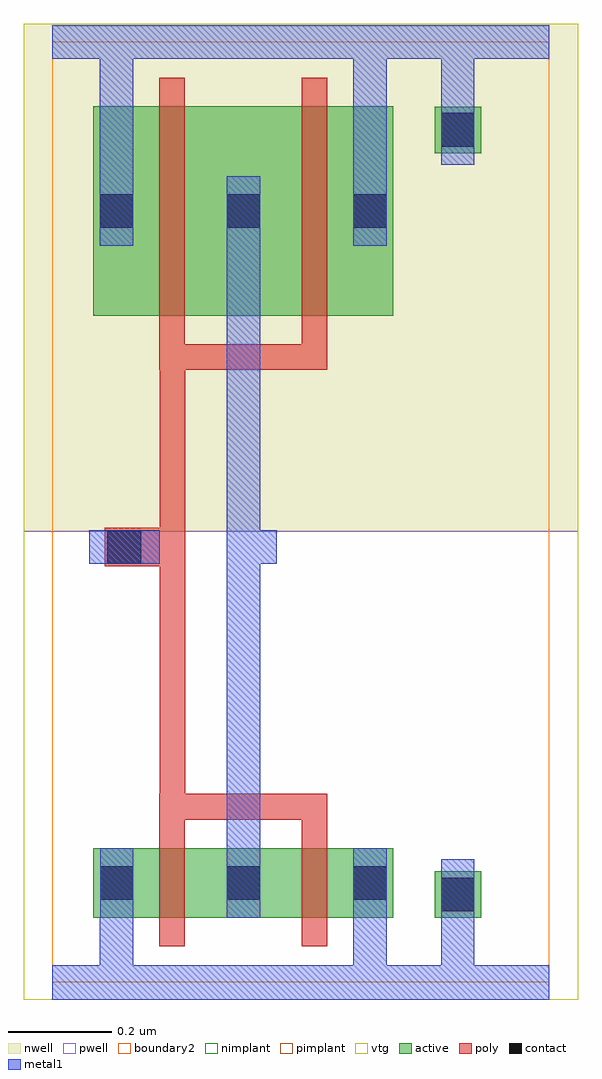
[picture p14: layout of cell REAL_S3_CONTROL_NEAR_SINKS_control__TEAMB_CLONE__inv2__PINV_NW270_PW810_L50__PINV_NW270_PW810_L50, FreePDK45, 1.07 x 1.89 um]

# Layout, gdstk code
import gdstk
lib = gdstk.Library(unit=1e-6, precision=1e-09)
def R(c, l, rs):  # rectangles x0, y0, x1, y1
    for r in rs: c.add(gdstk.rectangle(r[:2], r[2:], *l))
active = (1, 0)
pwell = (2, 0)
nwell = (3, 0)
nimplant = (4, 0)
pimplant = (5, 0)
vtg = (6, 0)
poly = (9, 0)
contact = (10, 0)
metal1 = (11, 0)
boundary2 = (239, 0)

real_s3_control_near_sin = lib.new_cell('REAL_S3_CONTROL_NEAR_SINKS_control__TEAMB_CLONE__inv2__PINV_NW270_PW810_L50__TRANSMISSION_GATE_NW250_PW500_L50_contact_8')
R(real_s3_control_near_sin, active, [(0,0.022,0.09,0.112), (0,0.022,0.09,0.112)])
R(real_s3_control_near_sin, nwell, [(-0.055,-0.033,0.145,0.168), (-0.055,-0.033,0.145,0.168)])
R(real_s3_control_near_sin, pimplant, [(0,0.022,0.09,0.112), (0,0.022,0.09,0.112)])
R(real_s3_control_near_sin, contact, [(0.013,0.035,0.077,0.1), (0.013,0.035,0.077,0.1)])
R(real_s3_control_near_sin, metal1, [(0.013,0,0.077,0.135), (0.013,0,0.077,0.135)])
R(real_s3_control_near_sin, boundary2, [(-0.055,-0.033,0.145,0.168), (-0.055,-0.033,0.145,0.168)])

c_real_s3_control_near_sin = lib.new_cell('REAL_S3_CONTROL_NEAR_SINKS_control__TEAMB_CLONE__inv2__PINV_NW270_PW810_L50__PINV_NW270_PW810_L50_pmos_m2_w0_405_sm1_dm1_da_p')
R(c_real_s3_control_near_sin, active, [(0,0,0.58,0.405), (0,0,0.58,0.405)])
R(c_real_s3_control_near_sin, nwell, [(-0.08,-0.08,0.66,0.485), (-0.08,-0.08,0.66,0.485)])
R(c_real_s3_control_near_sin, pimplant, [(0,0,0.58,0.405), (0,0,0.58,0.405)])
R(c_real_s3_control_near_sin, vtg, [(-0.08,-0.08,0.66,0.485), (-0.08,-0.08,0.66,0.485)])
R(c_real_s3_control_near_sin, poly, [(0.127,-0.105,0.452,-0.055), (0.127,-0.105,0.452,-0.055), (0.127,-0.055,0.177,0.46), (0.127,-0.055,0.177,0.46), (0.403,-0.055,0.452,0.46), (0.403,-0.055,0.452,0.46)])
R(c_real_s3_control_near_sin, metal1, [(0.013,0.135,0.077,0.27), (0.013,0.135,0.077,0.27), (0.258,0.135,0.323,0.27), (0.258,0.135,0.323,0.27), (0.503,0.135,0.567,0.27), (0.503,0.135,0.567,0.27)])
R(c_real_s3_control_near_sin, boundary2, [(-0.08,-0.105,0.66,0.485), (-0.08,-0.105,0.66,0.485)])
c_real_s3_control_near_sin.add(gdstk.Reference(real_s3_control_near_sin, (0,0.135)))
c_real_s3_control_near_sin.add(gdstk.Reference(real_s3_control_near_sin, (0.245,0.135)))
c_real_s3_control_near_sin.add(gdstk.Reference(real_s3_control_near_sin, (0.49,0.135)))

c_real_s3_control_near_sin_ = lib.new_cell('REAL_S3_CONTROL_NEAR_SINKS_control__TEAMB_CLONE__inv2__PINV_NW270_PW810_L50__TRANSMISSION_GATE_NW250_PW500_L50_contact_7')
R(c_real_s3_control_near_sin_, active, [(0,0.022,0.09,0.112), (0,0.022,0.09,0.112)])
R(c_real_s3_control_near_sin_, pwell, [(-0.055,-0.033,0.145,0.168), (-0.055,-0.033,0.145,0.168)])
R(c_real_s3_control_near_sin_, nimplant, [(0,0.022,0.09,0.112), (0,0.022,0.09,0.112)])
R(c_real_s3_control_near_sin_, contact, [(0.013,0.035,0.077,0.1), (0.013,0.035,0.077,0.1)])
R(c_real_s3_control_near_sin_, metal1, [(0.013,0,0.077,0.135), (0.013,0,0.077,0.135)])
R(c_real_s3_control_near_sin_, boundary2, [(-0.055,-0.033,0.145,0.168), (-0.055,-0.033,0.145,0.168)])

c_real_s3_control_near_sin__ = lib.new_cell('REAL_S3_CONTROL_NEAR_SINKS_control__TEAMB_CLONE__inv2__PINV_NW270_PW810_L50__PINV_NW270_PW810_L50_nmos_m2_w0_135_sm1_dm1_da_p')
R(c_real_s3_control_near_sin__, active, [(0,0,0.58,0.135), (0,0,0.58,0.135)])
R(c_real_s3_control_near_sin__, pwell, [(-0.08,-0.08,0.66,0.215), (-0.08,-0.08,0.66,0.215)])
R(c_real_s3_control_near_sin__, nimplant, [(0,0,0.58,0.135), (0,0,0.58,0.135)])
R(c_real_s3_control_near_sin__, vtg, [(-0.08,-0.08,0.66,0.215), (-0.08,-0.08,0.66,0.215)])
R(c_real_s3_control_near_sin__, poly, [(0.127,-0.055,0.177,0.19), (0.127,-0.055,0.177,0.19), (0.403,-0.055,0.452,0.19), (0.403,-0.055,0.452,0.19), (0.127,0.19,0.452,0.24), (0.127,0.19,0.452,0.24)])
R(c_real_s3_control_near_sin__, metal1, [(0.013,0,0.077,0.135), (0.013,0,0.077,0.135), (0.258,0,0.323,0.135), (0.258,0,0.323,0.135), (0.503,0,0.567,0.135), (0.503,0,0.567,0.135)])
R(c_real_s3_control_near_sin__, boundary2, [(-0.08,-0.08,0.66,0.24), (-0.08,-0.08,0.66,0.24)])
c_real_s3_control_near_sin__.add(gdstk.Reference(c_real_s3_control_near_sin_, (0,0)))
c_real_s3_control_near_sin__.add(gdstk.Reference(c_real_s3_control_near_sin_, (0.245,0)))
c_real_s3_control_near_sin__.add(gdstk.Reference(c_real_s3_control_near_sin_, (0.49,0)))

c_real_s3_control_near_sin___ = lib.new_cell('REAL_S3_CONTROL_NEAR_SINKS_control__TEAMB_CLONE__inv2__PINV_NW270_PW810_L50__TRANSMISSION_GATE_NW250_PW500_L50_contact_9')
R(c_real_s3_control_near_sin___, active, [(0,0.022,0.09,0.112), (0,0.022,0.09,0.112)])
R(c_real_s3_control_near_sin___, nwell, [(-0.055,-0.033,0.145,0.168), (-0.055,-0.033,0.145,0.168)])
R(c_real_s3_control_near_sin___, nimplant, [(0,0.022,0.09,0.112), (0,0.022,0.09,0.112)])
R(c_real_s3_control_near_sin___, contact, [(0.013,0.035,0.077,0.1), (0.013,0.035,0.077,0.1)])
R(c_real_s3_control_near_sin___, metal1, [(0.013,0,0.077,0.135), (0.013,0,0.077,0.135)])
R(c_real_s3_control_near_sin___, boundary2, [(-0.055,-0.033,0.145,0.168), (-0.055,-0.033,0.145,0.168)])

c_real_s3_control_near_sin____ = lib.new_cell('REAL_S3_CONTROL_NEAR_SINKS_control__TEAMB_CLONE__inv2__PINV_NW270_PW810_L50__TRANSMISSION_GATE_NW250_PW500_L50_contact_10')
R(c_real_s3_control_near_sin____, active, [(0,0.022,0.09,0.112), (0,0.022,0.09,0.112)])
R(c_real_s3_control_near_sin____, pwell, [(-0.055,-0.033,0.145,0.168), (-0.055,-0.033,0.145,0.168)])
R(c_real_s3_control_near_sin____, pimplant, [(0,0.022,0.09,0.112), (0,0.022,0.09,0.112)])
R(c_real_s3_control_near_sin____, contact, [(0.013,0.035,0.077,0.1), (0.013,0.035,0.077,0.1)])
R(c_real_s3_control_near_sin____, metal1, [(0.013,0,0.077,0.135), (0.013,0,0.077,0.135)])
R(c_real_s3_control_near_sin____, boundary2, [(-0.055,-0.033,0.145,0.168), (-0.055,-0.033,0.145,0.168)])

c_real_s3_control_near_sin_____ = lib.new_cell('REAL_S3_CONTROL_NEAR_SINKS_control__TEAMB_CLONE__inv2__PINV_NW270_PW810_L50__PINV_NW180_PW270_L50_contact_11')
R(c_real_s3_control_near_sin_____, poly, [(0.03,0,0.105,0.075), (0.03,0,0.105,0.075)])
R(c_real_s3_control_near_sin_____, contact, [(0.035,0.005,0.1,0.07), (0.035,0.005,0.1,0.07)])
R(c_real_s3_control_near_sin_____, metal1, [(0,0.005,0.135,0.07), (0,0.005,0.135,0.07)])
R(c_real_s3_control_near_sin_____, boundary2, [(0,0,0.135,0.075), (0,0,0.135,0.075)])

c_real_s3_control_near_sin______ = lib.new_cell('REAL_S3_CONTROL_NEAR_SINKS_control__TEAMB_CLONE__inv2__PINV_NW270_PW810_L50__PINV_NW270_PW810_L50_core')
R(c_real_s3_control_near_sin______, pwell, [(-0.055,-0.033,1.018,0.873), (-0.055,-0.033,1.018,0.873)])
R(c_real_s3_control_near_sin______, nwell, [(-0.055,0.873,1.018,1.855), (-0.055,0.873,1.018,1.855)])
R(c_real_s3_control_near_sin______, vtg, [(-0.055,-0.033,1.018,0.873), (-0.055,-0.033,1.018,0.873), (-0.055,0.873,1.018,1.855), (-0.055,0.873,1.018,1.855)])
R(c_real_s3_control_near_sin______, poly, [(0.208,0.365,0.258,1.185), (0.208,0.365,0.258,1.185), (0.14,0.805,0.208,0.88), (0.14,0.805,0.208,0.88)])
R(c_real_s3_control_near_sin______, metal1, [(0,-0.033,0.962,0.033), (0,-0.033,0.962,0.033), (0.092,-0.033,0.157,0.125), (0.092,-0.033,0.157,0.125), (0.583,-0.033,0.647,0.125), (0.583,-0.033,0.647,0.125), (0.753,0,0.817,0.17), (0.753,0,0.817,0.17), (0.338,0.125,0.403,1.56), (0.338,0.125,0.403,1.56), (0.072,0.81,0.208,0.875), (0.072,0.81,0.208,0.875), (0.37,0.81,0.435,0.875), (0.37,0.81,0.435,0.875), (0.092,1.425,0.157,1.852), (0.092,1.425,0.157,1.852), (0.583,1.425,0.647,1.852), (0.583,1.425,0.647,1.852), (0.753,1.65,0.817,1.82), (0.753,1.65,0.817,1.82), (0,1.787,0.962,1.852), (0,1.787,0.962,1.852)])
R(c_real_s3_control_near_sin______, boundary2, [(0,0,0.962,1.82), (0,0,0.962,1.82), (0,0,0.962,1.82), (0,0,0.962,1.82)])
c_real_s3_control_near_sin______.add(gdstk.Reference(c_real_s3_control_near_sin, (0.08,1.29)))
c_real_s3_control_near_sin______.add(gdstk.Reference(c_real_s3_control_near_sin__, (0.08,0.125)))
c_real_s3_control_near_sin______.add(gdstk.Reference(c_real_s3_control_near_sin___, (0.74,1.582)))
c_real_s3_control_near_sin______.add(gdstk.Reference(c_real_s3_control_near_sin____, (0.74,0.103)))
c_real_s3_control_near_sin______.add(gdstk.Reference(c_real_s3_control_near_sin_____, (0.072,0.805)))

c_real_s3_control_near_sin_______ = lib.new_cell('REAL_S3_CONTROL_NEAR_SINKS_control__TEAMB_CLONE__inv2__PINV_NW270_PW810_L50__PINV_NW270_PW810_L50')
R(c_real_s3_control_near_sin_______, metal1, [(0,-0.033,0.962,0.033), (0,-0.033,0.962,0.033), (0.072,0.81,0.208,0.875), (0.072,0.81,0.208,0.875), (0.37,0.81,0.435,0.875), (0.37,0.81,0.435,0.875), (0,1.787,0.962,1.852), (0,1.787,0.962,1.852)])
R(c_real_s3_control_near_sin_______, boundary2, [(0,0,0.962,1.82), (0,0,0.962,1.82)])
c_real_s3_control_near_sin_______.add(gdstk.Reference(c_real_s3_control_near_sin______, (0,0)))

lib.write_gds('REAL_S3_CONTROL_NEAR_SINKS_control__TEAMB_CLONE__inv2__PINV_NW270_PW810_L50__PINV_NW270_PW810_L50.gds')
